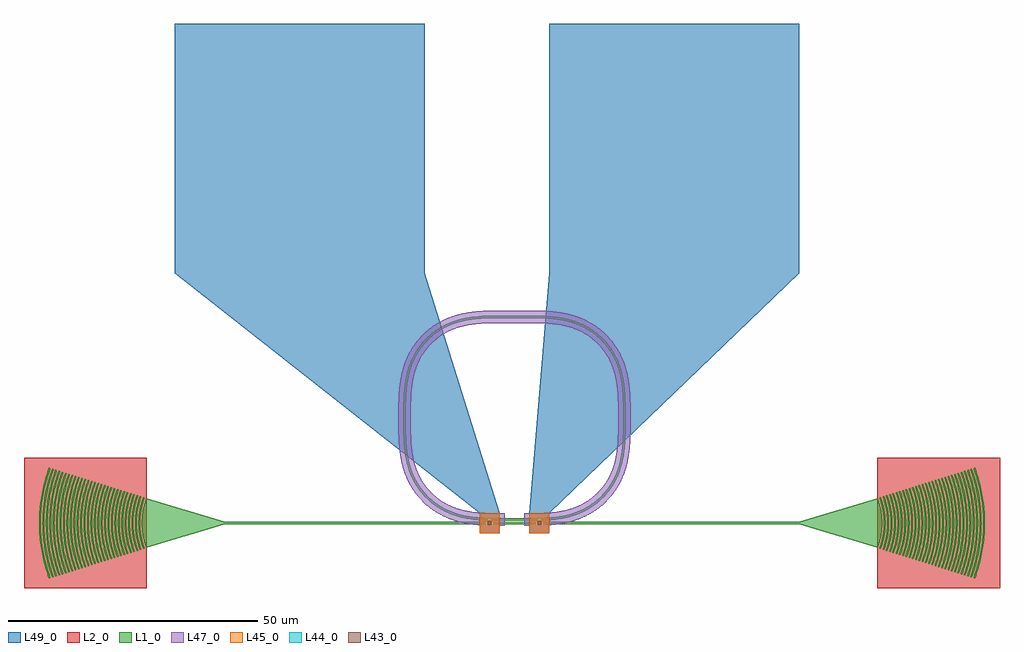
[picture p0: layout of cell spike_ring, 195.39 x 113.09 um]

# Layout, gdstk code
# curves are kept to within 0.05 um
import gdstk
lib = gdstk.Library(unit=1e-6, precision=1e-09)
def R(c, l, rs):  # rectangles x0, y0, x1, y1
    for r in rs: c.add(gdstk.rectangle(r[:2], r[2:], *l))
def P(c, l, *ps):  # polygons
    for p in ps: c.add(gdstk.Polygon(p, *l))
L1_0 = (1, 0)
L2_0 = (2, 0)
L43_0 = (43, 0)
L44_0 = (44, 0)
L45_0 = (45, 0)
L47_0 = (47, 0)
L49_0 = (49, 0)

spike_ring = lib.new_cell('spike_ring')
P(spike_ring, L1_0, [(-75.723,-4.924),(-76.104,-3.726),(-76.379,-2.5),(-76.545,-1.255),(-76.6,0),(-76.545,1.255),(-76.379,2.5),(-76.104,3.726),(-75.723,4.924),(-60,0.25),(55,0.25),(70.723,4.924),(71.333,2.747),(71.591,0.502),(71.565,-1.004),(71.421,-2.252),(71.168,-3.483),(70.723,-4.924),(55,-0.25),(-60,-0.25)],
  [(-76.171,-5.185),(-76.371,-5.135),(-76.699,-4.14),(-76.955,-3.122),(-77.203,-1.57),(-77.287,0),(-77.203,1.57),(-76.955,3.122),(-76.699,4.14),(-76.371,5.135),(-76.171,5.185),(-76.049,5.019),(-76.503,3.549),(-76.799,2.042),(-76.907,1.023),(-76.943,0),(-76.907,-1.023),(-76.799,-2.042),(-76.503,-3.549),(-76.049,-5.019)],
  [(71.171,-5.185),(71.049,-5.019),(71.503,-3.549),(71.799,-2.042),(71.907,-1.023),(71.943,0),(71.907,1.023),(71.799,2.042),(71.503,3.549),(71.049,5.019),(71.171,5.185),(71.371,5.135),(71.699,4.14),(71.955,3.122),(72.203,1.57),(72.287,0),(72.203,-1.57),(71.955,-3.122),(71.699,-4.14),(71.371,-5.135)],
  [(-76.821,-5.389),(-77.021,-5.339),(-77.361,-4.304),(-77.628,-3.246),(-77.886,-1.632),(-77.973,0),(-77.886,1.632),(-77.628,3.246),(-77.361,4.304),(-77.021,5.339),(-76.821,5.389),(-76.699,5.223),(-77.171,3.693),(-77.44,2.388),(-77.592,1.065),(-77.629,0),(-77.592,-1.065),(-77.44,-2.388),(-77.171,-3.693),(-76.699,-5.223)],
  [(71.821,-5.389),(71.699,-5.223),(72.171,-3.693),(72.44,-2.388),(72.592,-1.065),(72.629,0),(72.592,1.065),(72.44,2.388),(72.171,3.693),(71.699,5.223),(71.821,5.389),(72.021,5.339),(72.361,4.304),(72.628,3.246),(72.886,1.632),(72.973,0),(72.886,-1.632),(72.628,-3.246),(72.361,-4.304),(72.021,-5.339)],
  [(-77.472,-5.592),(-77.672,-5.542),(-78.024,-4.468),(-78.301,-3.37),(-78.569,-1.694),(-78.659,0),(-78.569,1.694),(-78.301,3.37),(-78.024,4.468),(-77.672,5.542),(-77.472,5.592),(-77.348,5.426),(-77.769,4.105),(-78.118,2.481),(-78.276,1.106),(-78.315,0),(-78.276,-1.106),(-78.118,-2.481),(-77.769,-4.105),(-77.348,-5.426)],
  [(72.472,-5.592),(72.348,-5.426),(72.769,-4.105),(73.118,-2.481),(73.276,-1.106),(73.315,0),(73.276,1.106),(73.118,2.481),(72.769,4.105),(72.348,5.426),(72.472,5.592),(72.672,5.542),(73.024,4.468),(73.301,3.37),(73.569,1.694),(73.659,0),(73.569,-1.694),(73.301,-3.37),(73.024,-4.468),(72.672,-5.542)],
  [(-78.122,-5.796),(-78.322,-5.745),(-78.687,-4.632),(-78.973,-3.493),(-79.251,-1.756),(-79.345,0),(-79.251,1.756),(-78.973,3.493),(-78.687,4.632),(-78.322,5.745),(-78.122,5.796),(-77.998,5.631),(-78.508,3.981),(-78.797,2.574),(-78.961,1.148),(-79.001,0),(-78.961,-1.148),(-78.797,-2.574),(-78.508,-3.981),(-77.998,-5.631)],
  [(73.122,-5.796),(72.998,-5.631),(73.508,-3.981),(73.797,-2.574),(73.961,-1.148),(74.001,0),(73.961,1.148),(73.797,2.574),(73.508,3.981),(72.998,5.631),(73.122,5.796),(73.322,5.745),(73.687,4.632),(73.973,3.493),(74.251,1.756),(74.345,0),(74.251,-1.756),(73.973,-3.493),(73.687,-4.632),(73.322,-5.745)],
  [(-78.77,-5.999),(-78.97,-5.949),(-79.35,-4.796),(-79.646,-3.617),(-79.934,-1.818),(-80.031,0),(-79.934,1.818),(-79.646,3.617),(-79.35,4.796),(-78.97,5.949),(-78.77,5.999),(-78.648,5.833),(-79.176,4.125),(-79.475,2.667),(-79.645,1.19),(-79.687,0),(-79.645,-1.19),(-79.475,-2.667),(-79.176,-4.125),(-78.648,-5.833)],
  [(73.77,-5.999),(73.648,-5.833),(74.176,-4.125),(74.475,-2.667),(74.645,-1.19),(74.687,0),(74.645,1.19),(74.475,2.667),(74.176,4.125),(73.648,5.833),(73.77,5.999),(73.97,5.949),(74.35,4.796),(74.646,3.617),(74.934,1.818),(75.031,0),(74.934,-1.818),(74.646,-3.617),(74.35,-4.796),(73.97,-5.949)],
  [(-79.421,-6.203),(-79.621,-6.153),(-80.012,-4.96),(-80.319,-3.741),(-80.617,-1.881),(-80.717,0),(-80.617,1.881),(-80.319,3.741),(-80.012,4.96),(-79.621,6.153),(-79.421,6.203),(-79.297,6.037),(-79.844,4.269),(-80.154,2.761),(-80.33,1.231),(-80.373,0),(-80.33,-1.231),(-80.154,-2.761),(-79.844,-4.269),(-79.297,-6.037)],
  [(74.421,-6.203),(74.297,-6.037),(74.844,-4.269),(75.154,-2.761),(75.33,-1.231),(75.373,0),(75.33,1.231),(75.154,2.761),(74.844,4.269),(74.297,6.037),(74.421,6.203),(74.621,6.153),(75.012,4.96),(75.319,3.741),(75.617,1.881),(75.717,0),(75.617,-1.881),(75.319,-3.741),(75.012,-4.96),(74.621,-6.153)],
  [(-80.071,-6.406),(-80.271,-6.356),(-80.675,-5.124),(-80.992,-3.865),(-81.3,-1.943),(-81.403,0),(-81.3,1.943),(-80.992,3.865),(-80.675,5.124),(-80.271,6.356),(-80.071,6.406),(-79.947,6.24),(-80.512,4.413),(-80.833,2.854),(-80.989,1.59),(-81.059,0),(-80.989,-1.59),(-80.833,-2.854),(-80.512,-4.413),(-79.947,-6.24)],
  [(75.071,-6.406),(74.947,-6.24),(75.512,-4.413),(75.833,-2.854),(75.989,-1.59),(76.059,0),(75.989,1.59),(75.833,2.854),(75.512,4.413),(74.947,6.24),(75.071,6.406),(75.271,6.356),(75.675,5.124),(75.992,3.865),(76.3,1.943),(76.403,0),(76.3,-1.943),(75.992,-3.865),(75.675,-5.124),(75.271,-6.356)],
  [(-80.721,-6.61),(-80.921,-6.559),(-81.338,-5.288),(-81.665,-3.988),(-81.982,-2.005),(-82.089,0),(-81.982,2.005),(-81.665,3.988),(-81.338,5.288),(-80.921,6.559),(-80.721,6.61),(-80.597,6.445),(-81.18,4.557),(-81.511,2.947),(-81.699,1.314),(-81.745,0),(-81.699,-1.314),(-81.511,-2.947),(-81.18,-4.557),(-80.597,-6.445)],
  [(75.721,-6.61),(75.597,-6.445),(76.18,-4.557),(76.511,-2.947),(76.699,-1.314),(76.745,0),(76.699,1.314),(76.511,2.947),(76.18,4.557),(75.597,6.445),(75.721,6.61),(75.921,6.559),(76.338,5.288),(76.665,3.988),(76.982,2.005),(77.089,0),(76.982,-2.005),(76.665,-3.988),(76.338,-5.288),(75.921,-6.559)],
  [(-81.369,-6.813),(-81.569,-6.763),(-81.686,-6.439),(-82.094,-5.119),(-82.338,-4.112),(-82.665,-2.067),(-82.775,0),(-82.665,2.067),(-82.338,4.112),(-82.094,5.119),(-81.686,6.439),(-81.569,6.763),(-81.369,6.813),(-81.247,6.647),(-81.848,4.701),(-82.19,3.04),(-82.383,1.356),(-82.431,0),(-82.383,-1.356),(-82.19,-3.04),(-81.848,-4.701),(-81.247,-6.647)],
  [(76.369,-6.813),(76.247,-6.647),(76.848,-4.701),(77.19,-3.04),(77.383,-1.356),(77.431,0),(77.383,1.356),(77.19,3.04),(76.848,4.701),(76.247,6.647),(76.369,6.813),(76.569,6.763),(76.686,6.439),(77.094,5.119),(77.338,4.112),(77.665,2.067),(77.775,0),(77.665,-2.067),(77.338,-4.112),(77.094,-5.119),(76.686,-6.439),(76.569,-6.763)],
  [(-82.02,-7.017),(-82.219,-6.967),(-82.339,-6.632),(-82.663,-5.616),(-83.011,-4.236),(-83.348,-2.129),(-83.461,0),(-83.348,2.129),(-83.011,4.236),(-82.663,5.616),(-82.339,6.632),(-82.219,6.967),(-82.02,7.017),(-81.897,6.851),(-82.516,4.845),(-82.868,3.133),(-83.068,1.397),(-83.117,0),(-83.068,-1.397),(-82.868,-3.133),(-82.516,-4.845),(-81.897,-6.851)],
  [(77.02,-7.017),(76.897,-6.851),(77.516,-4.845),(77.868,-3.133),(78.068,-1.397),(78.117,0),(78.068,1.397),(77.868,3.133),(77.516,4.845),(76.897,6.851),(77.02,7.017),(77.219,6.967),(77.339,6.632),(77.663,5.616),(78.011,4.236),(78.348,2.129),(78.461,0),(78.348,-2.129),(78.011,-4.236),(77.663,-5.616),(77.339,-6.632),(77.219,-6.967)],
  [(-82.67,-7.22),(-82.87,-7.17),(-82.992,-6.826),(-83.326,-5.78),(-83.684,-4.359),(-84.03,-2.192),(-84.147,0),(-84.03,2.192),(-83.684,4.359),(-83.326,5.78),(-82.992,6.826),(-82.87,7.17),(-82.67,7.22),(-82.546,7.054),(-83.185,4.989),(-83.547,3.226),(-83.724,1.797),(-83.803,0),(-83.724,-1.797),(-83.547,-3.226),(-83.185,-4.989),(-82.546,-7.054)],
  [(77.67,-7.22),(77.546,-7.054),(78.185,-4.989),(78.547,-3.226),(78.724,-1.797),(78.803,0),(78.724,1.797),(78.547,3.226),(78.185,4.989),(77.546,7.054),(77.67,7.22),(77.87,7.17),(77.992,6.826),(78.326,5.78),(78.684,4.359),(79.03,2.192),(79.147,0),(79.03,-2.192),(78.684,-4.359),(78.326,-5.78),(77.992,-6.826),(77.87,-7.17)],
  [(-83.32,-7.424),(-83.52,-7.373),(-83.766,-6.663),(-84.09,-5.581),(-84.432,-4.114),(-84.713,-2.254),(-84.833,0),(-84.713,2.254),(-84.432,4.114),(-84.09,5.581),(-83.766,6.663),(-83.52,7.373),(-83.32,7.424),(-83.196,7.259),(-83.853,5.133),(-84.226,3.319),(-84.437,1.48),(-84.489,0),(-84.437,-1.48),(-84.226,-3.319),(-83.853,-5.133),(-83.196,-7.259)],
  [(78.32,-7.424),(78.196,-7.259),(78.853,-5.133),(79.226,-3.319),(79.437,-1.48),(79.489,0),(79.437,1.48),(79.226,3.319),(78.853,5.133),(78.196,7.259),(78.32,7.424),(78.52,7.373),(78.766,6.663),(79.09,5.581),(79.432,4.114),(79.713,2.254),(79.833,0),(79.713,-2.254),(79.432,-4.114),(79.09,-5.581),(78.766,-6.663),(78.52,-7.373)],
  [(-83.968,-7.627),(-84.168,-7.577),(-84.423,-6.846),(-84.756,-5.735),(-85.107,-4.228),(-85.396,-2.316),(-85.519,0),(-85.396,2.316),(-85.107,4.228),(-84.756,5.735),(-84.423,6.846),(-84.168,7.577),(-83.968,7.627),(-83.846,7.461),(-84.521,5.276),(-84.904,3.412),(-85.091,1.901),(-85.175,0),(-85.091,-1.901),(-84.904,-3.412),(-84.521,-5.276),(-83.846,-7.461)],
  [(78.968,-7.627),(78.846,-7.461),(79.521,-5.276),(79.904,-3.412),(80.091,-1.901),(80.175,0),(80.091,1.901),(79.904,3.412),(79.521,5.276),(78.846,7.461),(78.968,7.627),(79.168,7.577),(79.423,6.846),(79.756,5.735),(80.107,4.228),(80.396,2.316),(80.519,0),(80.396,-2.316),(80.107,-4.228),(79.756,-5.735),(79.423,-6.846),(79.168,-7.577)],
  [(-84.619,-7.831),(-84.818,-7.781),(-85.079,-7.031),(-85.421,-5.889),(-85.781,-4.341),(-86.079,-2.378),(-86.205,0),(-86.079,2.378),(-85.781,4.341),(-85.421,5.889),(-85.079,7.031),(-84.818,7.781),(-84.619,7.831),(-84.496,7.665),(-85.189,5.42),(-85.583,3.505),(-85.806,1.563),(-85.861,0),(-85.806,-1.563),(-85.583,-3.505),(-85.189,-5.42),(-84.496,-7.665)],
  [(79.619,-7.831),(79.496,-7.665),(80.189,-5.42),(80.583,-3.505),(80.806,-1.563),(80.861,0),(80.806,1.563),(80.583,3.505),(80.189,5.42),(79.496,7.665),(79.619,7.831),(79.818,7.781),(80.079,7.031),(80.421,5.889),(80.781,4.341),(81.079,2.378),(81.205,0),(81.079,-2.378),(80.781,-4.341),(80.421,-5.889),(80.079,-7.031),(79.818,-7.781)],
  [(-85.269,-8.034),(-85.469,-7.984),(-85.736,-7.215),(-86.087,-6.043),(-86.456,-4.455),(-86.761,-2.44),(-86.891,0),(-86.761,2.44),(-86.456,4.455),(-86.087,6.043),(-85.736,7.215),(-85.469,7.984),(-85.269,8.034),(-85.145,7.868),(-85.857,5.564),(-86.261,3.598),(-86.49,1.605),(-86.547,0),(-86.49,-1.605),(-86.261,-3.598),(-85.857,-5.564),(-85.145,-7.868)],
  [(80.269,-8.034),(80.145,-7.868),(80.857,-5.564),(81.261,-3.598),(81.49,-1.605),(81.547,0),(81.49,1.605),(81.261,3.598),(80.857,5.564),(80.145,7.868),(80.269,8.034),(80.469,7.984),(80.736,7.215),(81.087,6.043),(81.456,4.455),(81.761,2.44),(81.891,0),(81.761,-2.44),(81.456,-4.455),(81.087,-6.043),(80.736,-7.215),(80.469,-7.984)],
  [(-85.919,-8.238),(-86.119,-8.187),(-86.392,-7.398),(-86.752,-6.197),(-87.131,-4.568),(-87.444,-2.503),(-87.577,0),(-87.444,2.503),(-87.131,4.568),(-86.752,6.197),(-86.392,7.398),(-86.119,8.187),(-85.919,8.238),(-85.795,8.073),(-86.525,5.708),(-86.94,3.691),(-87.175,1.646),(-87.233,0),(-87.175,-1.646),(-86.94,-3.691),(-86.525,-5.708),(-85.795,-8.073)],
  [(80.919,-8.238),(80.795,-8.073),(81.525,-5.708),(81.94,-3.691),(82.175,-1.646),(82.233,0),(82.175,1.646),(81.94,3.691),(81.525,5.708),(80.795,8.073),(80.919,8.238),(81.119,8.187),(81.392,7.398),(81.752,6.197),(82.131,4.568),(82.444,2.503),(82.577,0),(82.444,-2.503),(82.131,-4.568),(81.752,-6.197),(81.392,-7.398),(81.119,-8.187)],
  [(-86.567,-8.441),(-86.767,-8.391),(-87.049,-7.582),(-87.418,-6.351),(-87.806,-4.682),(-88.127,-2.565),(-88.263,0),(-88.127,2.565),(-87.806,4.682),(-87.418,6.351),(-87.049,7.582),(-86.767,8.391),(-86.567,8.441),(-86.445,8.275),(-87.193,5.852),(-87.619,3.784),(-87.86,1.688),(-87.919,0),(-87.86,-1.688),(-87.619,-3.784),(-87.193,-5.852),(-86.445,-8.275)],
  [(81.567,-8.441),(81.445,-8.275),(82.193,-5.852),(82.619,-3.784),(82.86,-1.688),(82.919,0),(82.86,1.688),(82.619,3.784),(82.193,5.852),(81.445,8.275),(81.567,8.441),(81.767,8.391),(82.049,7.582),(82.418,6.351),(82.806,4.682),(83.127,2.565),(83.263,0),(83.127,-2.565),(82.806,-4.682),(82.418,-6.351),(82.049,-7.582),(81.767,-8.391)],
  [(-87.217,-8.645),(-87.417,-8.595),(-87.706,-7.766),(-88.194,-6.08),(-88.481,-4.795),(-88.701,-3.498),(-88.852,-2.19),(-88.949,0),(-88.852,2.19),(-88.701,3.498),(-88.481,4.795),(-88.194,6.08),(-87.706,7.766),(-87.417,8.595),(-87.217,8.645),(-87.095,8.479),(-87.862,5.996),(-88.297,3.877),(-88.51,2.16),(-88.605,0),(-88.51,-2.16),(-88.297,-3.877),(-87.862,-5.996),(-87.095,-8.479)],
  [(82.217,-8.645),(82.095,-8.479),(82.862,-5.996),(83.297,-3.877),(83.51,-2.16),(83.605,0),(83.51,2.16),(83.297,3.877),(82.862,5.996),(82.095,8.479),(82.217,8.645),(82.417,8.595),(82.706,7.766),(83.194,6.08),(83.481,4.795),(83.701,3.498),(83.852,2.19),(83.949,0),(83.852,-2.19),(83.701,-3.498),(83.481,-4.795),(83.194,-6.08),(82.706,-7.766),(82.417,-8.595)],
  [(-87.868,-8.848),(-88.068,-8.798),(-88.362,-7.951),(-88.749,-6.659),(-89.156,-4.909),(-89.492,-2.689),(-89.598,-1.346),(-89.635,0),(-89.598,1.346),(-89.492,2.689),(-89.156,4.909),(-88.749,6.659),(-88.362,7.951),(-88.068,8.798),(-87.868,8.848),(-87.744,8.682),(-88.171,7.42),(-88.53,6.14),(-88.976,3.971),(-89.229,1.771),(-89.291,0),(-89.229,-1.771),(-88.976,-3.971),(-88.53,-6.14),(-88.171,-7.42),(-87.744,-8.682)],
  [(82.868,-8.848),(82.744,-8.682),(83.171,-7.42),(83.53,-6.14),(83.976,-3.971),(84.229,-1.771),(84.291,0),(84.229,1.771),(83.976,3.971),(83.53,6.14),(83.171,7.42),(82.744,8.682),(82.868,8.848),(83.068,8.798),(83.362,7.951),(83.749,6.659),(84.156,4.909),(84.492,2.689),(84.598,1.346),(84.635,0),(84.598,-1.346),(84.492,-2.689),(84.156,-4.909),(83.749,-6.659),(83.362,-7.951),(83.068,-8.798)],
  [(-88.518,-9.052),(-88.718,-9.001),(-89.019,-8.135),(-89.415,-6.813),(-89.831,-5.023),(-90.175,-2.751),(-90.283,-1.378),(-90.321,0),(-90.283,1.378),(-90.175,2.751),(-89.831,5.023),(-89.415,6.813),(-89.019,8.135),(-88.718,9.001),(-88.518,9.052),(-88.394,8.887),(-88.83,7.594),(-89.198,6.284),(-89.654,4.064),(-89.913,1.812),(-89.977,0),(-89.913,-1.812),(-89.654,-4.064),(-89.198,-6.284),(-88.83,-7.594),(-88.394,-8.887)],
  [(83.518,-9.052),(83.394,-8.887),(83.83,-7.594),(84.198,-6.284),(84.654,-4.064),(84.913,-1.812),(84.977,0),(84.913,1.812),(84.654,4.064),(84.198,6.284),(83.83,7.594),(83.394,8.887),(83.518,9.052),(83.718,9.001),(84.019,8.135),(84.415,6.813),(84.831,5.023),(85.175,2.751),(85.283,1.378),(85.321,0),(85.283,-1.378),(85.175,-2.751),(84.831,-5.023),(84.415,-6.813),(84.019,-8.135),(83.718,-9.001)],
  [(-89.166,-9.255),(-89.366,-9.205),(-89.675,-8.317),(-90.08,-6.967),(-90.506,-5.136),(-90.858,-2.814),(-90.968,-1.409),(-91.007,0),(-90.968,1.409),(-90.858,2.814),(-90.506,5.136),(-90.08,6.967),(-89.675,8.317),(-89.366,9.205),(-89.166,9.255),(-89.044,9.089),(-89.49,7.768),(-89.866,6.428),(-90.333,4.157),(-90.598,1.854),(-90.663,0),(-90.598,-1.854),(-90.333,-4.157),(-89.866,-6.428),(-89.49,-7.768),(-89.044,-9.089)],
  [(84.166,-9.255),(84.044,-9.089),(84.49,-7.768),(84.866,-6.428),(85.333,-4.157),(85.598,-1.854),(85.663,0),(85.598,1.854),(85.333,4.157),(84.866,6.428),(84.49,7.768),(84.044,9.089),(84.166,9.255),(84.366,9.205),(84.675,8.317),(85.08,6.967),(85.506,5.136),(85.858,2.814),(85.968,1.409),(86.007,0),(85.968,-1.409),(85.858,-2.814),(85.506,-5.136),(85.08,-6.967),(84.675,-8.317),(84.366,-9.205)],
  [(-89.816,-9.459),(-90.016,-9.409),(-90.332,-8.501),(-90.746,-7.121),(-91.181,-5.25),(-91.54,-2.876),(-91.654,-1.44),(-91.693,0),(-91.654,1.44),(-91.54,2.876),(-91.181,5.25),(-90.746,7.121),(-90.332,8.501),(-90.016,9.409),(-89.816,9.459),(-89.694,9.293),(-90.15,7.942),(-90.534,6.572),(-91.012,4.25),(-91.282,1.895),(-91.349,0),(-91.282,-1.895),(-91.012,-4.25),(-90.534,-6.572),(-90.15,-7.942),(-89.694,-9.293)],
  [(84.816,-9.459),(84.694,-9.293),(85.15,-7.942),(85.534,-6.572),(86.012,-4.25),(86.282,-1.895),(86.349,0),(86.282,1.895),(86.012,4.25),(85.534,6.572),(85.15,7.942),(84.694,9.293),(84.816,9.459),(85.016,9.409),(85.332,8.501),(85.746,7.121),(86.181,5.25),(86.54,2.876),(86.654,1.44),(86.693,0),(86.654,-1.44),(86.54,-2.876),(86.181,-5.25),(85.746,-7.121),(85.332,-8.501),(85.016,-9.409)],
  [(-90.467,-9.662),(-90.667,-9.612),(-90.989,-8.686),(-91.411,-7.275),(-91.856,-5.363),(-92.223,-2.938),(-92.339,-1.471),(-92.379,0),(-92.339,1.471),(-92.223,2.938),(-91.856,5.363),(-91.411,7.275),(-90.989,8.686),(-90.667,9.612),(-90.467,9.662),(-90.343,9.496),(-90.81,8.117),(-91.202,6.716),(-91.69,4.343),(-91.967,1.937),(-92.035,0),(-91.967,-1.937),(-91.69,-4.343),(-91.202,-6.716),(-90.81,-8.117),(-90.343,-9.496)],
  [(85.467,-9.662),(85.343,-9.496),(85.81,-8.117),(86.202,-6.716),(86.69,-4.343),(86.967,-1.937),(87.035,0),(86.967,1.937),(86.69,4.343),(86.202,6.716),(85.81,8.117),(85.343,9.496),(85.467,9.662),(85.667,9.612),(85.989,8.686),(86.411,7.275),(86.856,5.363),(87.223,2.938),(87.339,1.471),(87.379,0),(87.339,-1.471),(87.223,-2.938),(86.856,-5.363),(86.411,-7.275),(85.989,-8.686),(85.667,-9.612)],
  [(-91.117,-9.866),(-91.316,-9.816),(-91.645,-8.869),(-92.077,-7.429),(-92.531,-5.477),(-92.906,-3),(-93.024,-1.502),(-93.065,0),(-93.024,1.502),(-92.906,3),(-92.531,5.477),(-92.077,7.429),(-91.645,8.869),(-91.316,9.816),(-91.117,9.866),(-90.994,9.7),(-91.469,8.29),(-91.871,6.86),(-92.369,4.436),(-92.612,2.471),(-92.721,0),(-92.612,-2.471),(-92.369,-4.436),(-91.871,-6.86),(-91.469,-8.29),(-90.994,-9.7)],
  [(86.117,-9.866),(85.994,-9.7),(86.469,-8.29),(86.871,-6.86),(87.369,-4.436),(87.612,-2.471),(87.721,0),(87.612,2.471),(87.369,4.436),(86.871,6.86),(86.469,8.29),(85.994,9.7),(86.117,9.866),(86.316,9.816),(86.645,8.869),(87.077,7.429),(87.531,5.477),(87.906,3),(88.024,1.502),(88.065,0),(88.024,-1.502),(87.906,-3),(87.531,-5.477),(87.077,-7.429),(86.645,-8.869),(86.316,-9.816)],
  [(-91.765,-10.069),(-91.965,-10.019),(-92.302,-9.053),(-92.742,-7.583),(-93.206,-5.59),(-93.462,-4.077),(-93.638,-2.553),(-93.751,0),(-93.638,2.553),(-93.462,4.077),(-93.206,5.59),(-92.742,7.583),(-92.302,9.053),(-91.965,10.019),(-91.765,10.069),(-91.643,9.903),(-92.129,8.464),(-92.539,7.004),(-93.047,4.529),(-93.336,2.02),(-93.407,0),(-93.336,-2.02),(-93.047,-4.529),(-92.539,-7.004),(-92.129,-8.464),(-91.643,-9.903)],
  [(86.765,-10.069),(86.643,-9.903),(87.129,-8.464),(87.539,-7.004),(88.047,-4.529),(88.336,-2.02),(88.407,0),(88.336,2.02),(88.047,4.529),(87.539,7.004),(87.129,8.464),(86.643,9.903),(86.765,10.069),(86.965,10.019),(87.302,9.053),(87.742,7.583),(88.206,5.59),(88.462,4.077),(88.638,2.553),(88.751,0),(88.638,-2.553),(88.462,-4.077),(88.206,-5.59),(87.742,-7.583),(87.302,-9.053),(86.965,-10.019)],
  [(-92.415,-10.273),(-92.615,-10.223),(-92.958,-9.237),(-93.408,-7.737),(-93.881,-5.704),(-94.271,-3.125),(-94.394,-1.564),(-94.437,0),(-94.394,1.564),(-94.271,3.125),(-93.881,5.704),(-93.408,7.737),(-92.958,9.237),(-92.615,10.223),(-92.415,10.273),(-92.293,10.107),(-92.789,8.638),(-93.207,7.148),(-93.726,4.622),(-94.02,2.061),(-94.093,0),(-94.02,-2.061),(-93.726,-4.622),(-93.207,-7.148),(-92.789,-8.638),(-92.293,-10.107)],
  [(87.415,-10.273),(87.293,-10.107),(87.789,-8.638),(88.207,-7.148),(88.726,-4.622),(89.02,-2.061),(89.093,0),(89.02,2.061),(88.726,4.622),(88.207,7.148),(87.789,8.638),(87.293,10.107),(87.415,10.273),(87.615,10.223),(87.958,9.237),(88.408,7.737),(88.881,5.704),(89.271,3.125),(89.394,1.564),(89.437,0),(89.394,-1.564),(89.271,-3.125),(88.881,-5.704),(88.408,-7.737),(87.958,-9.237),(87.615,-10.223)],
  [(-93.066,-10.476),(-93.266,-10.426),(-93.615,-9.422),(-94.073,-7.891),(-94.556,-5.817),(-94.954,-3.187),(-95.08,-1.596),(-95.123,0),(-95.08,1.596),(-94.954,3.187),(-94.556,5.817),(-94.073,7.891),(-93.615,9.422),(-93.266,10.426),(-93.066,10.476),(-92.942,10.31),(-93.449,8.812),(-93.875,7.292),(-94.405,4.715),(-94.705,2.103),(-94.779,0),(-94.705,-2.103),(-94.405,-4.715),(-93.875,-7.292),(-93.449,-8.812),(-92.942,-10.31)],
  [(88.066,-10.476),(87.942,-10.31),(88.449,-8.812),(88.875,-7.292),(89.405,-4.715),(89.705,-2.103),(89.779,0),(89.705,2.103),(89.405,4.715),(88.875,7.292),(88.449,8.812),(87.942,10.31),(88.066,10.476),(88.266,10.426),(88.615,9.422),(89.073,7.891),(89.556,5.817),(89.954,3.187),(90.08,1.596),(90.123,0),(90.08,-1.596),(89.954,-3.187),(89.556,-5.817),(89.073,-7.891),(88.615,-9.422),(88.266,-10.426)],
  [(-93.716,-10.68),(-93.915,-10.63),(-94.436,-9.088),(-94.875,-7.52),(-95.231,-5.931),(-95.503,-4.326),(-95.689,-2.709),(-95.809,0),(-95.689,2.709),(-95.503,4.326),(-95.231,5.931),(-94.875,7.52),(-94.436,9.088),(-93.915,10.63),(-93.716,10.68),(-93.593,10.514),(-94.108,8.986),(-94.543,7.436),(-95.083,4.808),(-95.347,2.679),(-95.465,0),(-95.347,-2.679),(-95.083,-4.808),(-94.543,-7.436),(-94.108,-8.986),(-93.593,-10.514)],
  [(88.716,-10.68),(88.593,-10.514),(89.108,-8.986),(89.543,-7.436),(90.083,-4.808),(90.347,-2.679),(90.465,0),(90.347,2.679),(90.083,4.808),(89.543,7.436),(89.108,8.986),(88.593,10.514),(88.716,10.68),(88.915,10.63),(89.436,9.088),(89.875,7.52),(90.231,5.931),(90.503,4.326),(90.689,2.709),(90.809,0),(90.689,-2.709),(90.503,-4.326),(90.231,-5.931),(89.875,-7.52),(89.436,-9.088),(88.915,-10.63)],
  [(-94.364,-10.883),(-94.564,-10.833),(-95.096,-9.262),(-95.543,-7.664),(-95.906,-6.044),(-96.319,-3.311),(-96.45,-1.658),(-96.495,0),(-96.45,1.658),(-96.319,3.311),(-95.906,6.044),(-95.543,7.664),(-95.096,9.262),(-94.564,10.833),(-94.364,10.883),(-94.242,10.717),(-94.768,9.16),(-95.211,7.58),(-95.762,4.901),(-96.074,2.186),(-96.151,0),(-96.074,-2.186),(-95.762,-4.901),(-95.211,-7.58),(-94.768,-9.16),(-94.242,-10.717)],
  [(89.364,-10.883),(89.242,-10.717),(89.768,-9.16),(90.211,-7.58),(90.762,-4.901),(91.074,-2.186),(91.151,0),(91.074,2.186),(90.762,4.901),(90.211,7.58),(89.768,9.16),(89.242,10.717),(89.364,10.883),(89.564,10.833),(90.096,9.262),(90.543,7.664),(90.906,6.044),(91.319,3.311),(91.45,1.658),(91.495,0),(91.45,-1.658),(91.319,-3.311),(90.906,-6.044),(90.543,-7.664),(90.096,-9.262),(89.564,-10.833)],
  [(-95.015,-11.087),(-95.215,-11.037),(-95.756,-9.436),(-96.211,-7.808),(-96.581,-6.158),(-97.002,-3.373),(-97.135,-1.689),(-97.181,0),(-97.135,1.689),(-97.002,3.373),(-96.581,6.158),(-96.211,7.808),(-95.756,9.436),(-95.215,11.037),(-95.015,11.087),(-94.891,10.921),(-95.428,9.334),(-95.879,7.724),(-96.44,4.994),(-96.759,2.227),(-96.837,0),(-96.759,-2.227),(-96.44,-4.994),(-95.879,-7.724),(-95.428,-9.334),(-94.891,-10.921)],
  [(90.015,-11.087),(89.891,-10.921),(90.428,-9.334),(90.879,-7.724),(91.44,-4.994),(91.759,-2.227),(91.837,0),(91.759,2.227),(91.44,4.994),(90.879,7.724),(90.428,9.334),(89.891,10.921),(90.015,11.087),(90.215,11.037),(90.756,9.436),(91.211,7.808),(91.581,6.158),(92.002,3.373),(92.135,1.689),(92.181,0),(92.135,-1.689),(92.002,-3.373),(91.581,-6.158),(91.211,-7.808),(90.756,-9.436),(90.215,-11.037)],
  [(-4.677,0.45),(-8.07,0.521),(-10.785,0.781),(-13.065,1.247),(-15.144,1.958),(-17.097,2.972),(-18.976,4.362),(-19.777,5.118),(-20.605,6.039),(-21.941,7.957),(-22.898,9.938),(-23.555,12.034),(-23.975,14.321),(-24.204,17.174),(-24.243,23.196),(-24.105,26.457),(-23.678,29.432),(-23.342,30.761),(-22.948,31.933),(-22.397,33.194),(-21.8,34.279),(-21.03,35.42),(-20.247,36.379),(-19.283,37.361),(-18.23,38.247),(-17.097,39.028),(-15.894,39.697),(-13.986,40.478),(-11.776,41.05),(-4.676,41.05),(-8.044,40.979),(-10.58,40.743),(-12.807,40.305),(-14.948,39.582),(-16.833,38.603),(-18.647,37.261),(-20.219,35.643),(-21.441,33.906),(-22.333,32.126),(-23.005,30.107),(-23.424,28.012),(-23.672,25.478),(-23.749,19.619),(-23.638,15.986),(-23.293,13.196),(-22.661,10.745),(-22.007,9.147),(-21.161,7.643),(-20.219,6.357),(-19.04,5.096),(-17.821,4.071),(-16.376,3.125),(-14.948,2.418),(-13.32,1.838),(-11.897,1.484),(-10.049,1.188),(-7.909,1.014),(-5.486,0.953),(3.909,1.014),(6.314,1.221),(8.548,1.63),(10.331,2.173),(12.027,2.933),(13.498,3.837),(14.943,5.005),(16.219,6.357),(17.303,7.867),(18.175,9.508),(18.824,11.252),(19.384,13.723),(19.656,16.254),(19.747,19.214),(19.704,24.806),(19.512,27.349),(19.189,29.328),(18.618,31.381),(17.889,33.091),(17.088,34.469),(16.219,35.643),(15.232,36.72),(14.136,37.686),(12.946,38.532),(11.672,39.249),(10.331,39.827),(8.807,40.305),(6.182,40.796),(3.237,41.014),(-11.776,41.05),(-9.701,41.354),(-7.118,41.518),(3.39,41.509),(5.293,41.393),(7.325,41.133),(9.065,40.753),(10.633,40.248),(12.262,39.508),(13.673,38.651),(14.976,37.638),(16.247,36.379),(17.272,35.086),(18.143,33.683),(18.847,32.19),(19.417,30.497),(19.877,28.355),(20.155,25.778),(20.243,23.196),(20.226,17.853),(20.105,15.543),(19.833,13.375),(19.453,11.635),(18.948,10.067),(18.397,8.806),(17.655,7.487),(16.778,6.253),(15.777,5.118),(14.767,4.183),(13.559,3.271),(12.262,2.492),(10.89,1.853),(9.593,1.397),(8.132,1.022),(5.293,0.607),(2.439,0.465)])
R(spike_ring, L2_0, [(-100.195,-13.087,-75.6,13.087), (70.6,-13.087,95.195,13.087)])
R(spike_ring, L43_0, [(-7.35,-0.35,-6.65,0.35), (2.65,-0.35,3.35,0.35)])
R(spike_ring, L44_0, [(-7.35,-0.35,-6.65,0.35), (2.65,-0.35,3.35,0.35)])
R(spike_ring, L45_0, [(-9,-2,-5,2), (1,-2,5,2)])
P(spike_ring, L47_0, [(-9,-2),(-9,-0.421),(-12.059,-0.014),(-14.577,0.667),(-15.671,1.096),(-16.861,1.678),(-17.873,2.28),(-18.953,3.047),(-20.387,4.313),(-21.742,5.864),(-22.951,7.71),(-23.775,9.436),(-24.561,11.937),(-24.865,13.487),(-25.063,15.037),(-25.232,18.104),(-25.229,24.034),(-25.063,26.963),(-24.714,29.359),(-24.081,31.739),(-23.227,33.77),(-22.339,35.296),(-21.187,36.823),(-20.07,37.995),(-18.6,39.219),(-16.99,40.251),(-15.4,41.019),(-13.604,41.642),(-11.777,42.068),(-9.382,42.389),(-6.734,42.529),(1.087,42.549),(4.401,42.462),(6.648,42.248),(8.763,41.861),(10.715,41.284),(12.47,40.527),(13.873,39.72),(15.068,38.862),(16.177,37.893),(17.282,36.711),(18.174,35.54),(19.022,34.161),(19.719,32.7),(20.26,31.183),(20.656,29.641),(20.908,28.23),(21.113,26.401),(21.213,24.588),(21.213,17.412),(21.063,15.037),(20.818,13.205),(20.173,10.538),(19.227,8.23),(18.655,7.201),(17.919,6.1),(17.091,5.066),(16.177,4.107),(15.068,3.138),(13.873,2.28),(12.601,1.54),(11.264,0.925),(9.883,0.44),(8.341,0.044),(6.648,-0.248),(5,-0.421),(5,-2),(1,-2),(1,-0.549),(0,-0.55),(0,1.95),(4.122,2.026),(6.945,2.324),(9.396,2.907),(10.443,3.291),(11.558,3.816),(12.617,4.446),(13.707,5.252),(14.619,6.081),(15.526,7.089),(16.254,8.083),(16.941,9.251),(17.502,10.486),(17.903,11.662),(18.435,14.133),(18.694,16.971),(18.743,23.179),(18.599,26.46),(18.262,28.871),(17.715,30.932),(16.884,32.858),(15.828,34.522),(15.127,35.381),(14.264,36.261),(13.418,36.979),(12.41,37.688),(11.449,38.241),(10.329,38.756),(8.066,39.456),(5.803,39.834),(3.072,40.019),(-5.077,40.049),(-7.991,39.981),(-10.44,39.753),(-12.433,39.368),(-14.214,38.802),(-15.774,38.066),(-17.418,36.979),(-18.792,35.743),(-19.974,34.323),(-20.997,32.639),(-21.715,30.932),(-22.237,28.995),(-22.562,26.846),(-22.719,24.372),(-22.743,18.821),(-22.631,15.928),(-22.31,13.379),(-21.715,11.068),(-21.263,9.917),(-20.705,8.818),(-20.045,7.777),(-19.289,6.804),(-18.443,5.908),(-17.515,5.097),(-16.514,4.379),(-15.449,3.759),(-14.329,3.244),(-13.158,2.833),(-10.693,2.284),(-7.991,2.019),(-4,1.95),(-4,-0.55),(-5,-0.549),(-5,-2)])
P(spike_ring, L49_0, [(-9,-2),(-9,2),(-70,50),(-70,100),(-20,100),(-20,50),(-5,2),(-5,-2)],
  [(1,-2),(1,2),(5,50),(5,100),(55,100),(55,50),(5,2),(5,-2)])

lib.write_gds('spike_ring.gds')
